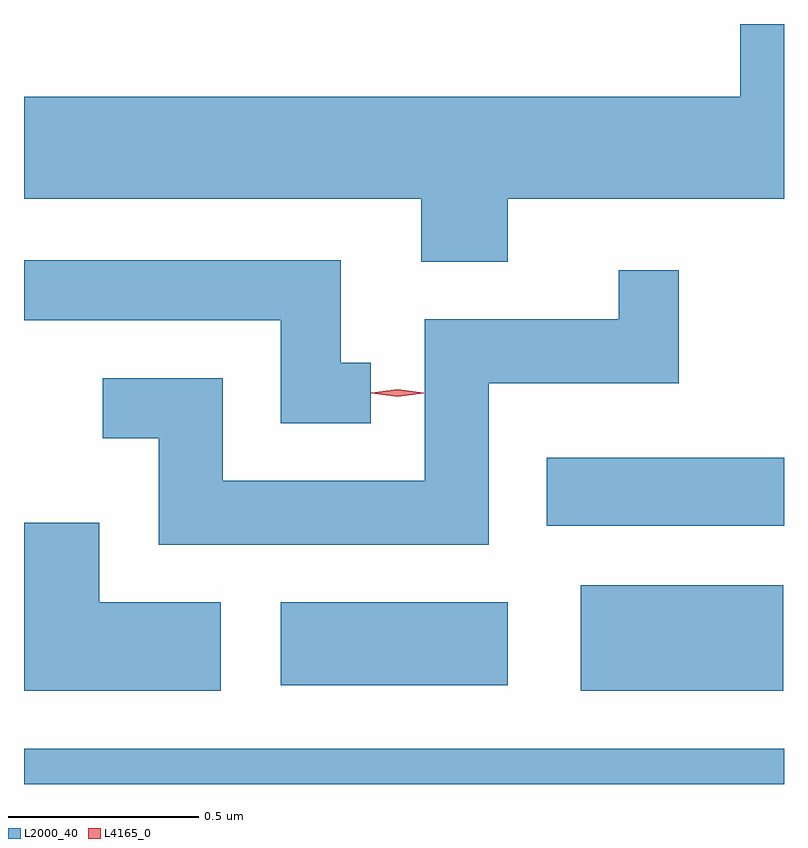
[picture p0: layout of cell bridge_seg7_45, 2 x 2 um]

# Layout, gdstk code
import gdstk
lib = gdstk.Library(unit=1e-6, precision=1e-09)
def R(c, l, rs):  # rectangles x0, y0, x1, y1
    for r in rs: c.add(gdstk.rectangle(r[:2], r[2:], *l))
def P(c, l, *ps):  # polygons
    for p in ps: c.add(gdstk.Polygon(p, *l))
L2000_40 = (2000, 40)
L4165_0 = (4165, 0)

bridge_seg7_45 = lib.new_cell('bridge_seg7_45')
R(bridge_seg7_45, L2000_40, [(1569.206,1770.496,1571.206,1770.589), (1570.671,1770.741,1571.204,1771.019), (1569.881,1770.756,1570.479,1770.974), (1570.581,1771.176,1571.206,1771.354)])
P(bridge_seg7_45, L2000_40, [(1570.479,1772.036),(1571.206,1772.036),(1571.206,1772.496),(1571.091,1772.496),(1571.091,1772.304),(1569.206,1772.304),(1569.206,1772.036),(1570.251,1772.036),(1570.251,1771.871),(1570.479,1771.871)],
  [(1570.118,1771.604),(1570.039,1771.604),(1570.039,1771.874),(1569.206,1771.874),(1569.206,1771.716),(1569.881,1771.716),(1569.881,1771.446),(1570.118,1771.446)],
  [(1570.429,1771.551),(1570.929,1771.551),(1570.929,1771.848),(1570.771,1771.848),(1570.771,1771.719),(1570.261,1771.719),(1570.261,1771.294),(1569.729,1771.294),(1569.729,1771.564),(1569.413,1771.564),(1569.413,1771.406),(1569.561,1771.406),(1569.561,1771.126),(1570.429,1771.126)],
  [(1569.724,1770.974),(1569.404,1770.974),(1569.404,1771.184),(1569.206,1771.184),(1569.206,1770.741),(1569.724,1770.741)])
P(bridge_seg7_45, L4165_0, [(1570.189,1771.515),(1570.12,1771.524),(1570.119,1771.525),(1570.12,1771.525),(1570.189,1771.535),(1570.258,1771.525),(1570.258,1771.525),(1570.258,1771.524)],
  [(1570.189,1771.515),(1570.123,1771.525),(1570.122,1771.525),(1570.123,1771.526),(1570.189,1771.535),(1570.255,1771.526),(1570.256,1771.525),(1570.255,1771.525)])

lib.write_gds('bridge_seg7_45.gds')
